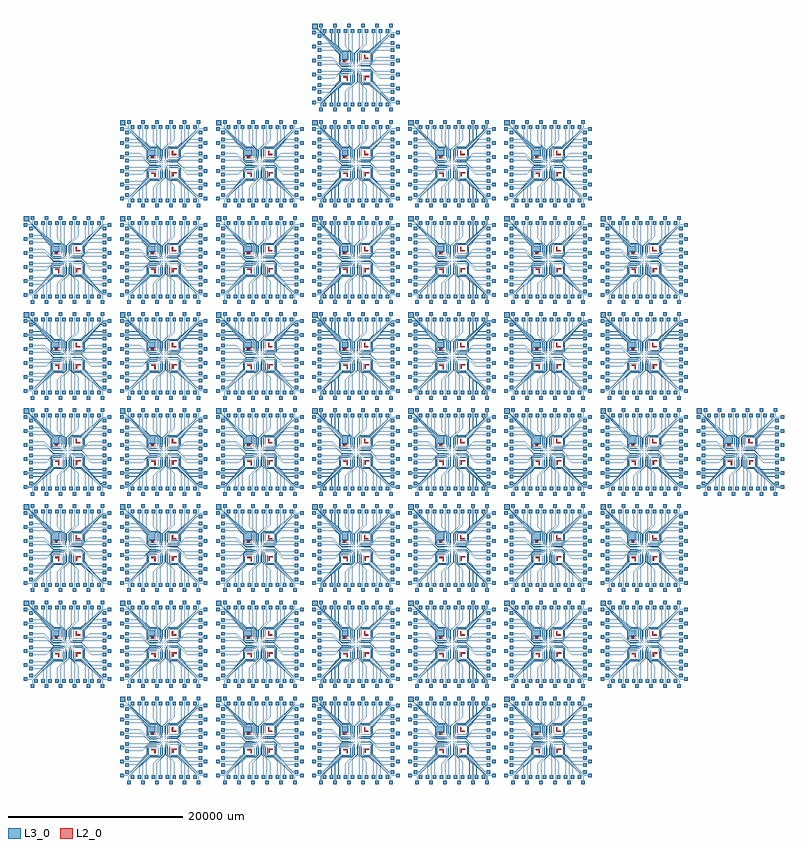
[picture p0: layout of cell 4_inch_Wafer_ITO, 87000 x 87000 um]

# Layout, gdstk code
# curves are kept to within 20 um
from math import pi, radians
import gdstk
lib = gdstk.Library(unit=1e-6, precision=1e-09)
def P(c, l, *ps):  # polygons
    for p in ps: c.add(gdstk.Polygon(p, *l))
L2_0 = (2, 0)
L3_0 = (3, 0)

alignment_marker = lib.new_cell('Alignment_Marker')
P(alignment_marker, L2_0, [(-500,-125),(-500,125),(250,125),(250,875),(500,875),(500,-125)])

c_64_electrode_device = lib.new_cell('64_Electrode_Device')
P(c_64_electrode_device, L2_0, [(-1487.5,697.5),(-1487.5,872.5),(-1387.5,872.5),(-1362.5,847.5),(-1462.5,847.5),(-1462.5,797.5),(-1400,797.5),(-1387.5,810),(-1387.5,835),(-1400,847.5),(-1362.5,847.5),(-1362.5,797.5),(-1387.5,772.5),(-1387.5,760),(-1362.5,735),(-1362.5,697.5),(-1387.5,697.5),(-1387.5,722.5),(-1437.5,772.5),(-1462.5,772.5),(-1462.5,697.5)],
  [(-1337.5,697.5),(-1337.5,872.5),(-1212.5,872.5),(-1212.5,847.5),(-1312.5,847.5),(-1312.5,797.5),(-1262.5,797.5),(-1262.5,772.5),(-1312.5,772.5),(-1312.5,722.5),(-1212.5,722.5),(-1212.5,697.5)],
  [(-1187.5,697.5),(-1187.5,872.5),(-1062.5,872.5),(-1062.5,847.5),(-1162.5,847.5),(-1162.5,797.5),(-1112.5,797.5),(-1112.5,772.5),(-1162.5,772.5),(-1162.5,697.5)])
P(c_64_electrode_device, L3_0, [(-4995,-4195),(-4995,-3795),(-4595,-3795),(-4595,-3992),(-4096.242,-3992),(-1723,-1618.758),(-1723,-970),(-1622.121,-867.879),(-866.175,-866.421),(-865.57,-872.568),(-870.705,-876),(-1618.758,-873),(-1717,-971.242),(-1717.879,-1622.121),(-4092.879,-3997.121),(-4595,-3998),(-4595,-4195)],
  [(-4195,-4995),(-4195,-4595),(-3998,-4595),(-3997.121,-4092.879),(-1622.121,-1717.879),(-721.242,-1717),(-623,-1618.758),(-623,-875.663),(-627,-869.705),(-623.024,-864.344),(-616.966,-865.549),(-617,-1622),(-720,-1723),(-1618.758,-1723),(-3992,-4096.242),(-3992,-4595),(-3795,-4595),(-3795,-4995)],
  [(-2995,-4395),(-2995,-3995),(-2798,-3995),(-2797,-3047),(-1568,-1818),(-571.242,-1817),(-373,-1618.758),(-373,-875.663),(-377,-869.705),(-367.421,-865.175),(-367,-1622),(-567.879,-1822.121),(-1563.758,-1823),(-2792,-3051.242),(-2792,-3995),(-2595,-3995),(-2595,-4395)],
  [(-1395,-4395),(-1395,-3995),(-1198,-3995),(-1198,-2695),(-123,-1618.758),(-127,-869.705),(-118.976,-864.344),(-117,-1622),(-1192,-2696.242),(-1192,-3995),(-995,-3995),(-995,-4395)],
  [(-995,-4995),(-995,-4595),(-798,-4595),(-798,-2543),(127,-1616.758),(127,-875.663),(123,-869.705),(130.46,-864.173),(135,-869.705),(132,-1621),(-792,-2544.242),(-792,-4595),(-595,-4595),(-595,-4995)],
  [(1005,-4395),(1005,-3995),(1202,-3995),(1202,-2446.242),(377.879,-1622.121),(373,-869.705),(378.119,-864.058),(385,-869.705),(383,-1618.758),(1208,-2445),(1208,-3995),(1405,-3995),(1405,-4395)],
  [(2605,-4395),(2605,-3995),(2802,-3995),(2802,-3046.242),(1578.758,-1823),(830,-1823),(627.879,-1622.121),(625.912,-864.847),(635,-869.705),(633,-1618.758),(831.242,-1817),(1582.121,-1817.879),(2807.121,-3042.879),(2808,-3995),(3005,-3995),(3005,-4395)],
  [(3805,-4995),(3805,-4595),(4002,-4595),(4002,-4096.242),(1628.758,-1723),(980,-1723),(877.879,-1622.121),(875.421,-865.175),(881.568,-864.57),(885,-869.705),(883,-1618.758),(981.242,-1717),(1632.121,-1717.879),(4007.121,-4092.879),(4008,-4595),(4205,-4595),(4205,-4995)],
  [(-4395,-2995),(-4395,-2595),(-3995,-2595),(-3995,-2792),(-3046.242,-2792),(-1823,-1568.758),(-1823,-820),(-1622.121,-617.879),(-866.175,-616.421),(-870.705,-626),(-1618.758,-623),(-1817,-821.242),(-1817.879,-1572.121),(-3042.879,-2797.121),(-3995,-2798),(-3995,-2995)],
  [(-4395,-3795),(-4395,-3395),(-3995,-3395),(-3995,-3592),(-3771.242,-3592),(-1773,-1593.758),(-1773,-820),(-1622.121,-667.879),(-671.242,-667),(-626.542,-622.3),(-625.034,-615.549),(-616.549,-615.966),(-616.549,-624.034),(-670,-673),(-1618.758,-673),(-1767,-821.242),(-1767.879,-1597.121),(-3767.879,-3597.121),(-3995,-3598),(-3995,-3795)],
  [(-3795,-4395),(-3795,-3995),(-3598,-3995),(-3597.121,-3767.879),(-1598,-1768),(-571.242,-1767),(-423,-1618.758),(-423,-670),(-376.542,-622.3),(-375.034,-615.549),(-366.966,-615.549),(-366.549,-624.034),(-417,-671.242),(-417.879,-1622.121),(-570,-1773),(-1593.758,-1773),(-3592,-3771.242),(-3592,-3995),(-3395,-3995),(-3395,-4395)],
  [(-2195,-4395),(-2195,-3995),(-1998,-3995),(-1997.121,-2392.879),(-1520,-1917),(-471.242,-1917),(-173,-1618.758),(-173,-670),(-125.451,-615.966),(-117.912,-614.847),(-116.549,-624.034),(-167,-671.242),(-167,-1620),(-467.879,-1922.121),(-1518.758,-1923),(-1992,-2396.242),(-1992,-3995),(-1795,-3995),(-1795,-4395)],
  [(-595,-4395),(-595,-3995),(-398,-3995),(-398,-2195),(177,-1618.758),(177,-671.242),(124.549,-624.034),(129.881,-614.058),(183,-670),(183,-1620),(-392,-2196.242),(-392,-3995),(-195,-3995),(-195,-4395)],
  [(1805,-4395),(1805,-3995),(2002,-3995),(2002,-2396.242),(1528.758,-1923),(730,-1923),(427.879,-1622.121),(427,-671.242),(374.549,-624.034),(376.976,-614.344),(433,-670),(433,-1618.758),(731.242,-1917),(1532.121,-1917.879),(2008,-2395),(2008,-3995),(2205,-3995),(2205,-4395)],
  [(3405,-4395),(3405,-3995),(3602,-3995),(3602,-3771.242),(1603.758,-1773),(830,-1773),(677.879,-1622.121),(677,-671.242),(631.3,-625.542),(624.549,-624.034),(625.421,-615.175),(633.034,-615.549),(683,-670),(683,-1618.758),(831.242,-1767),(1607.121,-1767.879),(3607.121,-3767.879),(3608,-3995),(3805,-3995),(3805,-4395)],
  [(4605,-4195),(4605,-3998),(4102.879,-3997.121),(1727.879,-1622.121),(1727,-721.242),(1628.758,-623),(878.705,-626),(873.344,-622.024),(874.549,-615.966),(1632,-617),(1732.121,-717.879),(1733,-1618.758),(4106.242,-3992),(4605,-3992),(4605,-3795),(5005,-3795),(5005,-4195)],
  [(-4395,-1395),(-4395,-995),(-3995,-995),(-3995,-1192),(-2446.242,-1192),(-1622.121,-367.879),(-870.705,-364),(-865.173,-368.54),(-870.705,-376),(-1618.758,-373),(-2445,-1198),(-3995,-1198),(-3995,-1395)],
  [(-4395,-2195),(-4395,-1795),(-3995,-1795),(-3995,-1992),(-2396.242,-1992),(-1923,-1518.758),(-1923,-720),(-1622.121,-417.879),(-671.242,-417),(-625.034,-365.549),(-615.57,-367.432),(-616.549,-374.034),(-670,-423),(-1618.758,-423),(-1917,-721.242),(-1917.879,-1522.121),(-2392.879,-1997.121),(-3995,-1998),(-3995,-2195)],
  [(-4995,-2595),(-4995,-2195),(-4595,-2195),(-4595,-2392),(-2721.242,-2392),(-1873,-1543.758),(-1873,-720),(-1622.121,-467.879),(-471.242,-467),(-376.542,-372.3),(-375.034,-365.549),(-365.57,-367.432),(-366.549,-374.034),(-470,-473),(-1618.758,-473),(-1867,-721.242),(-1868,-1548),(-2717,-2397),(-4595,-2398),(-4595,-2595)],
  [(-2595,-4995),(-2595,-4595),(-2398,-4595),(-2397.121,-2717.879),(-1547.121,-1867.879),(-471.242,-1867),(-223,-1618.758),(-223,-470),(-126.542,-372.3),(-125.451,-365.966),(-117.912,-364.847),(-116.549,-374.034),(-217,-471.242),(-217.879,-1622.121),(-470,-1873),(-1543.758,-1873),(-2392,-2721.242),(-2392,-4595),(-2195,-4595),(-2195,-4995)],
  [(205,-4395),(205,-3995),(402,-3995),(402,-1796.242),(227,-1620),(227,-471.242),(124.549,-374.034),(128.705,-364),(233,-470),(233,-1618.758),(408,-1795),(408,-3995),(605,-3995),(605,-4395)],
  [(2205,-4995),(2205,-4595),(2402,-4595),(2402,-2721.242),(1553.758,-1873),(730,-1873),(477.879,-1622.121),(477,-471.242),(381.3,-375.542),(374.549,-374.034),(376.976,-364.344),(383.034,-365.549),(483,-470),(483,-1618.758),(731.242,-1867),(1558,-1868),(2407,-2717),(2408,-4595),(2605,-4595),(2605,-4995)],
  [(4005,-3795),(4005,-3598),(3777.879,-3597.121),(1778,-1598),(1777,-571.242),(1628.758,-423),(680,-423),(631.3,-375.542),(624.549,-374.034),(624.966,-365.549),(633.034,-365.549),(681.242,-417),(1630,-417),(1782.121,-567.879),(1783,-1593.758),(3781.242,-3592),(4005,-3592),(4005,-3395),(4405,-3395),(4405,-3795)],
  [(4005,-2995),(4005,-2798),(3057,-2797),(1828,-1568),(1827,-571.242),(1628.758,-373),(878.705,-376),(873.344,-372.024),(874.549,-365.966),(1632,-367),(1832.121,-567.879),(1833,-1563.758),(3061.242,-2792),(4005,-2792),(4005,-2595),(4405,-2595),(4405,-2995)],
  [(-4395,-595),(-4395,-195),(-3995,-195),(-3995,-392),(-1796.242,-392),(-1620,-217),(-471.242,-217),(-375.034,-115.549),(-365.058,-119.119),(-470,-223),(-1618.758,-223),(-1795,-398),(-3995,-398),(-3995,-595)],
  [(-4995,-995),(-4995,-595),(-4595,-595),(-4595,-792),(-2146.242,-792),(-1620,-267),(-271.242,-267),(-126.542,-122.3),(-125.034,-115.549),(-115.058,-119.119),(-270,-273),(-1618.758,-273),(-2145,-798),(-4595,-798),(-4595,-995)],
  [(605,-4995),(605,-4595),(802,-4595),(802,-2146.242),(277,-1620),(277,-271.242),(131.3,-125.542),(124.549,-124.034),(123.344,-117.976),(128.705,-114),(283,-270),(283,-1618.758),(808,-2145),(808,-4595),(1005,-4595),(1005,-4995)],
  [(4605,-2595),(4605,-2398),(2727.879,-2397.121),(1877.879,-1547.121),(1877,-471.242),(1628.758,-223),(480,-223),(381.3,-125.542),(374.966,-124.451),(373.847,-116.912),(383.034,-115.549),(481.242,-217),(1632.121,-217.879),(1883,-470),(1883,-1543.758),(2731.242,-2392),(4605,-2392),(4605,-2195),(5005,-2195),(5005,-2595)],
  [(4005,-2195),(4005,-1998),(2402.879,-1997.121),(1927,-1520),(1927,-471.242),(1628.758,-173),(680,-173),(624.966,-124.451),(623.847,-116.912),(633.034,-115.549),(681.242,-167),(1630,-167),(1932.121,-467.879),(1933,-1518.758),(2406.242,-1992),(4005,-1992),(4005,-1795),(4405,-1795),(4405,-2195)],
  [(4005,-1395),(4005,-1198),(2705,-1198),(1628.758,-123),(878.705,-126),(873.344,-117.976),(1632,-117),(2706.242,-1192),(4005,-1192),(4005,-995),(4405,-995),(4405,-1395)],
  [(4605,-995),(4605,-798),(2553,-798),(1626.758,127),(878.705,124),(873.173,131.46),(878.705,136),(1631,132),(2554.242,-792),(4605,-792),(4605,-595),(5005,-595),(5005,-995)],
  [(4005,-595),(4005,-398),(2205,-398),(1628.758,177),(681.242,177),(632.579,125.175),(623.173,131.46),(680,183),(1630,183),(2206.242,-392),(4005,-392),(4005,-195),(4405,-195),(4405,-595)],
  [(-1620,-173),(-2196.242,402),(-3995,402),(-3995,205),(-4395,205),(-4395,605),(-3995,605),(-3995,408),(-2195,408),(-1618.758,-167),(-671.242,-167),(-625.034,-115.549),(-616.549,-115.966),(-616.549,-124.034),(-670,-173)],
  [(378.705,124),(374.549,134.034),(480,233),(1628.758,233),(1805,408),(4005,408),(4005,605),(4405,605),(4405,205),(4005,205),(4005,402),(1806.242,402),(1630,227),(481.242,227)],
  [(-871.295,-126),(-1621,-122),(-2544.242,802),(-4595,802),(-4595,605),(-4995,605),(-4995,1005),(-4595,1005),(-4595,808),(-2543,808),(-1616.758,-117),(-870.705,-114),(-865,-120.295)],
  [(128.705,124),(123.344,127.976),(124.549,134.034),(131.3,135.542),(280,283),(1628.758,283),(2155,808),(4605,808),(4605,1005),(5005,1005),(5005,605),(4605,605),(4605,802),(2156.242,802),(1630,277),(281.242,277)],
  [(-871.295,124),(-1622.121,127.879),(-2696.242,1202),(-3995,1202),(-3995,1005),(-4395,1005),(-4395,1405),(-3995,1405),(-3995,1208),(-2695,1208),(-1618.758,133),(-870.705,136),(-865,129.705)],
  [(878.705,374),(873,379.705),(878.705,386),(1628.758,383),(2455,1208),(4005,1208),(4005,1405),(4405,1405),(4405,1005),(4005,1005),(4005,1202),(2456.242,1202),(1632.121,377.879)],
  [(-621.295,124),(-671.242,177),(-1620,177),(-1922.121,477.879),(-1923,1528.758),(-2396.242,2002),(-3995,2002),(-3995,1805),(-4395,1805),(-4395,2205),(-3995,2205),(-3995,2008),(-2392.879,2007.121),(-1917,1530),(-1917,481.242),(-1618.758,183),(-670,183),(-616.549,134.034),(-615.57,127.432)],
  [(628.705,374),(624.549,384.034),(680,433),(1628.758,433),(1927,731.242),(1927.879,1532.121),(2402.879,2007.121),(4005,2008),(4005,2205),(4405,2205),(4405,1805),(4005,1805),(4005,2002),(2406.242,2002),(1933,1528.758),(1933,730),(1632.121,427.879),(681.242,427)],
  [(-371.295,124),(-471.242,227),(-1622.121,227.879),(-1873,480),(-1873,1553.758),(-2721.242,2402),(-4595,2402),(-4595,2205),(-4995,2205),(-4995,2605),(-4595,2605),(-4595,2408),(-2717.879,2407.121),(-1867.879,1557.121),(-1867,481.242),(-1618.758,233),(-470,233),(-366.549,134.034),(-365.57,127.432)],
  [(378.705,374),(373.344,377.976),(374.549,384.034),(381.3,385.542),(480,483),(1628.758,483),(1877,731.242),(1878,1558),(2727,2407),(4605,2408),(4605,2605),(5005,2605),(5005,2205),(4605,2205),(4605,2402),(2731.242,2402),(1883,1553.758),(1883,730),(1632.121,477.879),(481.242,477)],
  [(-871.295,374),(-1622,377),(-1822.121,577.879),(-1823,1573.758),(-3051.242,2802),(-3995,2802),(-3995,2605),(-4395,2605),(-4395,3005),(-3995,3005),(-3995,2808),(-3047,2807),(-1818,1578),(-1817,581.242),(-1618.758,383),(-870.705,386),(-865,379.705)],
  [(878.705,624),(873,629.705),(878.705,636),(1628.758,633),(1827,831.242),(1827.879,1582.121),(3052.879,2807.121),(4005,2808),(4005,3005),(4405,3005),(4405,2605),(4005,2605),(4005,2802),(3056.242,2802),(1833,1578.758),(1832.121,827.879),(1630,627)],
  [(-621.295,374),(-671.242,427),(-1622.121,427.879),(-1773,580),(-1773,1603.758),(-3771.242,3602),(-3995,3602),(-3995,3405),(-4395,3405),(-4395,3805),(-3995,3805),(-3995,3608),(-3767.879,3607.121),(-1768,1608),(-1767,581.242),(-1618.758,433),(-670,433),(-616.549,384.034),(-615.57,377.432)],
  [(628.705,624),(623.344,627.976),(624.549,634.034),(631.3,635.542),(680,683),(1628.758,683),(1777,831.242),(1777.879,1607.121),(3777.879,3607.121),(4005,3608),(4005,3805),(4405,3805),(4405,3405),(4005,3405),(4005,3602),(3781.242,3602),(1783,1603.758),(1783,830),(1632.121,677.879),(681.242,677)],
  [(-871.295,624),(-1622,627),(-1723,730),(-1723,1628.758),(-4096.242,4002),(-4595,4002),(-4595,3805),(-4995,3805),(-4995,4205),(-4595,4205),(-4595,4008),(-4092.879,4007.121),(-1717.879,1632.121),(-1717,731.242),(-1618.758,633),(-870.705,636),(-865,629.705)],
  [(878.705,874),(873,879.705),(878.705,886),(1628.758,883),(1727,981.242),(1727.879,1632.121),(4102.879,4007.121),(4605,4008),(4605,4205),(5005,4205),(5005,3805),(4605,3805),(4605,4002),(4106.242,4002),(1733,1628.758),(1733,980),(1632.121,877.879)],
  [(-621.295,624),(-673,680),(-673,1628.758),(-821.242,1777),(-1597.121,1777.879),(-3597.121,3777.879),(-3598,4005),(-3795,4005),(-3795,4405),(-3395,4405),(-3395,4005),(-3592,4005),(-3592,3781.242),(-1593.758,1783),(-820,1783),(-667.879,1632.121),(-667,681.242),(-616.175,633.579),(-615.847,626.912)],
  [(-621.295,874),(-627,879.705),(-623,885.663),(-623,1628.758),(-821.242,1827),(-1572.121,1827.879),(-2797.121,3052.879),(-2798,4005),(-2995,4005),(-2995,4405),(-2595,4405),(-2595,4005),(-2792,4005),(-2792,3056.242),(-1568.758,1833),(-820,1833),(-617.879,1632.121),(-615,879.705)],
  [(-371.295,624),(-423,680),(-423,1628.758),(-721.242,1927),(-1522.121,1927.879),(-1997.121,2402.879),(-1998,4005),(-2195,4005),(-2195,4405),(-1795,4405),(-1795,4005),(-1992,4005),(-1992,2406.242),(-1518.758,1933),(-720,1933),(-417.879,1632.121),(-417,681.242),(-366.175,633.579)],
  [(-371.295,874),(-377,879.705),(-373,1628.758),(-1198,2455),(-1198,4005),(-1395,4005),(-1395,4405),(-995,4405),(-995,4005),(-1192,4005),(-1192,2456.242),(-367.879,1632.121),(-365,879.705)],
  [(-121.295,374),(-223,480),(-223,1628.758),(-398,1805),(-398,4005),(-595,4005),(-595,4405),(-195,4405),(-195,4005),(-392,4005),(-392,1806.242),(-217,1630),(-217,481.242),(-116.549,384.034)],
  [(-121.295,624),(-173,680),(-173,1630),(402,2206.242),(402,4005),(205,4005),(205,4405),(605,4405),(605,4005),(408,4005),(408,2205),(-167,1628.758),(-167,681.242),(-116.175,633.579)],
  [(128.705,874),(123,879.705),(127.879,1632.121),(1202,2706.242),(1202,4005),(1005,4005),(1005,4405),(1405,4405),(1405,4005),(1208,4005),(1208,2705),(133,1628.758),(135,879.705)],
  [(128.705,624),(123.344,627.976),(124.549,634.034),(131.3,635.542),(177,681.242),(177,1630),(477.879,1932.121),(1528.758,1933),(2002,2406.242),(2002,4005),(1805,4005),(1805,4405),(2205,4405),(2205,4005),(2008,4005),(2007.121,2402.879),(1530,1927),(481.242,1927),(183,1628.758),(183,680)],
  [(378.705,874),(373,879.705),(377,885.663),(377,1632),(577.879,1832.121),(1573.758,1833),(2802,3061.242),(2802,4005),(2605,4005),(2605,4405),(3005,4405),(3005,4005),(2808,4005),(2807,3057),(1578,1828),(581.242,1827),(383,1628.758),(385,879.705)],
  [(378.705,624),(373.344,627.976),(374.549,634.034),(381.3,635.542),(427,681.242),(427.879,1632.121),(580,1783),(1603.758,1783),(3602,3781.242),(3602,4005),(3405,4005),(3405,4405),(3805,4405),(3805,4005),(3608,4005),(3607.121,3777.879),(1608,1778),(581.242,1777),(433,1628.758),(433,680)],
  [(-1645,930),(-1645,1619.644),(-4430.356,4405),(-4995,4405),(-4995,5005),(-4395,5005),(-4395,4440.356),(-1584.644,1630),(-945,1630),(-945,930)],
  [(-871.295,874),(-877,879.705),(-873,885.663),(-873,1628.758),(-971.242,1727),(-1622.121,1727.879),(-3997.121,4102.879),(-3998,4605),(-4195,4605),(-4195,5005),(-3795,5005),(-3795,4605),(-3992,4605),(-3992,4106.242),(-1618.758,1733),(-970,1733),(-867.879,1632.121),(-865,879.705)],
  [(-371.295,374),(-473,480),(-473,1628.758),(-721.242,1877),(-1548,1878),(-2397,2727),(-2398,4605),(-2595,4605),(-2595,5005),(-2195,5005),(-2195,4605),(-2392,4605),(-2392,2731.242),(-1543.758,1883),(-720,1883),(-467.879,1632.121),(-467,481.242),(-366.549,384.034),(-365.57,377.432)],
  [(-121.295,124),(-273,280),(-273,1628.758),(-798,2155),(-798,4605),(-995,4605),(-995,5005),(-595,5005),(-595,4605),(-792,4605),(-792,2156.242),(-267,1630),(-267,281.242),(-116.549,134.034),(-115.57,127.432)],
  [(-121.295,874),(-127,879.705),(-123,885.663),(-122,1631),(802,2554.242),(802,4605),(605,4605),(605,5005),(1005,5005),(1005,4605),(808,4605),(808,2553),(-117,1626.758),(-115,879.705)],
  [(128.705,374),(123.344,377.976),(124.549,384.034),(131.3,385.542),(227,481.242),(227.879,1632.121),(480,1883),(1553.758,1883),(2402,2731.242),(2402,4605),(2205,4605),(2205,5005),(2605,5005),(2605,4605),(2408,4605),(2407.121,2727.879),(1557.121,1877.879),(481.242,1877),(233,1628.758),(233,480)],
  [(628.705,874),(623,879.705),(627,885.663),(627,1632),(730,1733),(1628.758,1733),(4002,4106.242),(4002,4605),(3805,4605),(3805,5005),(4205,5005),(4205,4605),(4008,4605),(4007.121,4102.879),(1632.121,1727.879),(731.242,1727),(633,1628.758),(635,879.705)])
c_64_electrode_device.add(gdstk.Reference(alignment_marker, (1000,1250), rotation=3*pi/2, magnification=0.5))
c_64_electrode_device.add(gdstk.Reference(alignment_marker, (1250,-1000), rotation=pi, magnification=0.5))
c_64_electrode_device.add(gdstk.Reference(alignment_marker, (-1000,-1250), rotation=pi/2, magnification=0.5))

c_4_inch_wafer_ito = lib.new_cell('4_inch_Wafer_ITO')
r = gdstk.Reference(c_64_electrode_device, (-33305,-22305)); r.repetition = gdstk.Repetition(1, 5, v1=(0,0), v2=(0,11000)); c_4_inch_wafer_ito.add(r)
r = gdstk.Reference(c_64_electrode_device, (-22305,-33305)); r.repetition = gdstk.Repetition(1, 7, v1=(0,0), v2=(0,11000)); c_4_inch_wafer_ito.add(r)
r = gdstk.Reference(c_64_electrode_device, (-11305,-33305)); r.repetition = gdstk.Repetition(1, 7, v1=(0,0), v2=(0,11000)); c_4_inch_wafer_ito.add(r)
r = gdstk.Reference(c_64_electrode_device, (-305,-33305)); r.repetition = gdstk.Repetition(1, 8, v1=(0,0), v2=(0,11000)); c_4_inch_wafer_ito.add(r)
r = gdstk.Reference(c_64_electrode_device, (10695,-33305)); r.repetition = gdstk.Repetition(1, 7, v1=(0,0), v2=(0,11000)); c_4_inch_wafer_ito.add(r)
r = gdstk.Reference(c_64_electrode_device, (21695,-33305)); r.repetition = gdstk.Repetition(1, 7, v1=(0,0), v2=(0,11000)); c_4_inch_wafer_ito.add(r)
r = gdstk.Reference(c_64_electrode_device, (32695,-22305)); r.repetition = gdstk.Repetition(1, 5, v1=(0,0), v2=(0,11000)); c_4_inch_wafer_ito.add(r)
c_4_inch_wafer_ito.add(gdstk.Reference(c_64_electrode_device, (43695,-305)))

lib.write_gds('4_inch_Wafer_ITO.gds')
